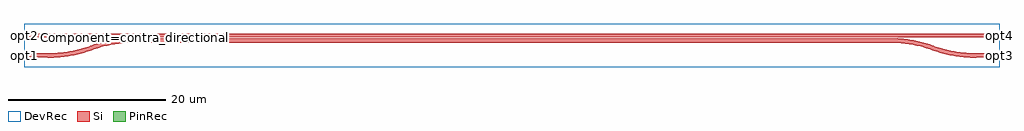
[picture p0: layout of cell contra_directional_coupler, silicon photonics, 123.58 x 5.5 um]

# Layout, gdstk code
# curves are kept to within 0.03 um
import gdstk
lib = gdstk.Library(unit=1e-6, precision=1e-09)
def R(c, l, rs):  # rectangles x0, y0, x1, y1
    for r in rs: c.add(gdstk.rectangle(r[:2], r[2:], *l))
def A(c, l, x, y, w, h, nx, ny, dx, dy):  # array of equal rectangles
    R(c, l, [(x+i*dx, y+j*dy, x+i*dx+w, y+j*dy+h) for i in range(nx) for j in range(ny)])
def P(c, l, *ps):  # polygons
    for p in ps: c.add(gdstk.Polygon(p, *l))
Si = (1, 0)
PinRec = (1, 10)
DevRec = (68, 0)

contra_directional_coupl = lib.new_cell('contra_directional_coupler')
A(contra_directional_coupl, Si, 0.159, -0.643, 0.159, 0.305, 300, 1, 0.318, 0)
A(contra_directional_coupl, Si, 0.318, -0.593, 0.159, 0.255, 300, 1, 0.318, 0)
A(contra_directional_coupl, Si, 0, -0.338, 0.159, 0.305, 300, 1, 0.318, 0)
A(contra_directional_coupl, Si, 0.159, -0.338, 0.159, 0.255, 300, 1, 0.318, 0)
A(contra_directional_coupl, Si, 0, 0.046, 0.159, 0.232, 300, 1, 0.318, 0)
A(contra_directional_coupl, Si, 0.159, 0.07, 0.159, 0.208, 300, 1, 0.318, 0)
A(contra_directional_coupl, Si, 0.159, 0.278, 0.159, 0.232, 300, 1, 0.318, 0)
A(contra_directional_coupl, Si, 0.318, 0.278, 0.159, 0.208, 300, 1, 0.318, 0)
R(contra_directional_coupl, Si, [(0,-0.618,0.159,-0.338), (95.4,-0.338,95.559,-0.058), (-5.5,0.058,0,0.498), (95.4,0.058,95.559,0.278), (95.559,0.058,101.059,0.498), (0,0.278,0.159,0.498)])
P(contra_directional_coupl, Si, [(106.291,-2.502),(104.738,-2.423),(103.202,-2.186),(101.945,-1.871),(99.774,-1.157),(98.312,-0.829),(97.074,-0.671),(95.559,-0.618),(95.559,-0.058),(96.863,-0.093),(98.407,-0.277),(99.924,-0.618),(102.104,-1.334),(103.315,-1.638),(104.795,-1.866),(106.559,-1.942),(106.559,-2.502)],
  [(106.559,-2.502),(106.559,-1.942),(109.559,-1.972),(109.559,-2.472)],
  [(109.559,0.028),(101.059,0.058),(101.059,0.498),(109.559,0.528)],
  [(-11,-2.502),(-11,-1.942),(-9.236,-1.866),(-7.756,-1.638),(-6.545,-1.334),(-4.365,-0.618),(-2.848,-0.277),(-1.304,-0.093),(0,-0.058),(0,-0.618),(-1.764,-0.694),(-3.244,-0.922),(-4.455,-1.226),(-6.635,-1.942),(-8.152,-2.283),(-9.696,-2.467)],
  [(-11,-2.502),(-14,-2.472),(-14,-1.972),(-11,-1.942)],
  [(-14,0.028),(-14,0.528),(-5.5,0.498),(-5.5,0.058)])
R(contra_directional_coupl, DevRec, [(-14,-3.722,109.559,1.778)])
contra_directional_coupl.add(gdstk.FlexPath([(-13.99,-2.222),(-14.01,-2.222)], 0.5, ends="flush", simple_path=True, layer=1, datatype=10))  # PinRec
contra_directional_coupl.add(gdstk.FlexPath([(-13.99,0.278),(-14.01,0.278)], 0.5, ends="flush", simple_path=True, layer=1, datatype=10))  # PinRec
contra_directional_coupl.add(gdstk.FlexPath([(109.549,-2.222),(109.569,-2.222)], 0.5, ends="flush", simple_path=True, layer=1, datatype=10))  # PinRec
contra_directional_coupl.add(gdstk.FlexPath([(109.549,0.278),(109.569,0.278)], 0.5, ends="flush", simple_path=True, layer=1, datatype=10))  # PinRec
contra_directional_coupl.add(gdstk.Label('opt1', (-14,-2.222), layer=1, texttype=10))
contra_directional_coupl.add(gdstk.Label('opt2', (-14,0.278), layer=1, texttype=10))
contra_directional_coupl.add(gdstk.Label('opt3', (109.559,-2.222), layer=1, texttype=10))
contra_directional_coupl.add(gdstk.Label('opt4', (109.559,0.278), layer=1, texttype=10))
contra_directional_coupl.add(gdstk.Label('Lumerical_INTERCONNECT_library=Design kits/EBeam', (0,0), layer=68, texttype=0))
contra_directional_coupl.add(gdstk.Label('Component=contra_directional_coupler', (0,0.1), layer=68, texttype=0))

lib.write_gds('contra_directional_coupler.gds')
